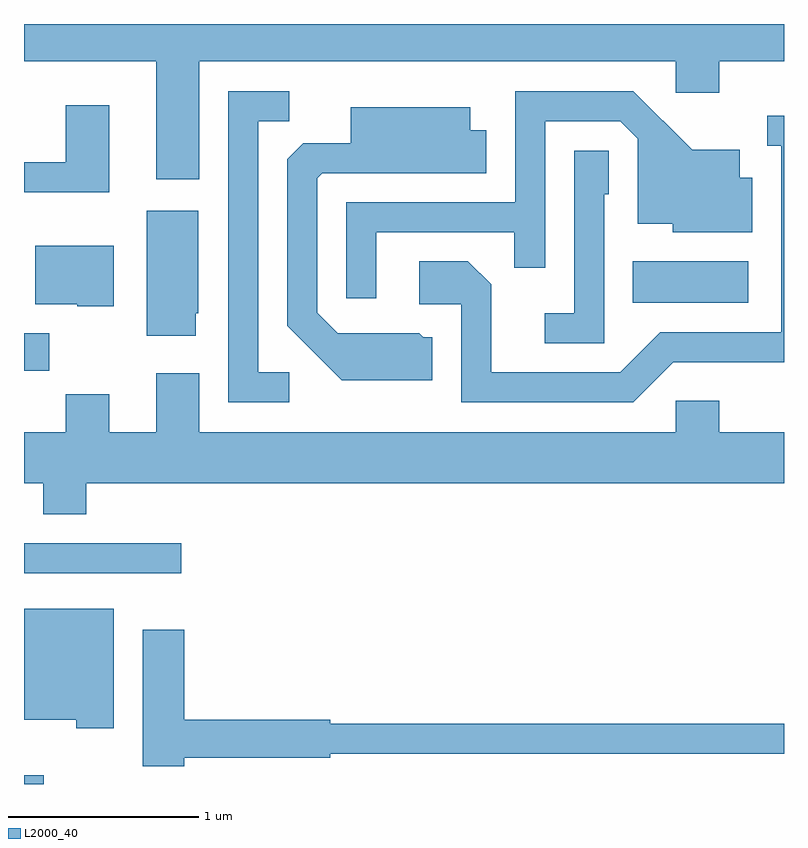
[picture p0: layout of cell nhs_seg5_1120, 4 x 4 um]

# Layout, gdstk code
import gdstk
lib = gdstk.Library(unit=1e-6, precision=1e-09)
def R(c, l, rs):  # rectangles x0, y0, x1, y1
    for r in rs: c.add(gdstk.rectangle(r[:2], r[2:], *l))
def P(c, l, *ps):  # polygons
    for p in ps: c.add(gdstk.Polygon(p, *l))
L2000_40 = (2000, 40)

nhs_seg5_1120 = lib.new_cell('nhs_seg5_1120')
R(nhs_seg5_1120, L2000_40, [(217.611,1484.072,217.714,1484.119), (217.611,1485.181,218.438,1485.339), (217.611,1486.246,217.744,1486.444), (220.816,1486.606,221.424,1486.824)])
P(nhs_seg5_1120, L2000_40, [(218.534,1487.876),(221.041,1487.876),(221.041,1487.711),(221.269,1487.711),(221.269,1487.876),(221.611,1487.876),(221.611,1488.072),(217.611,1488.072),(217.611,1487.876),(218.306,1487.876),(218.306,1487.256),(218.534,1487.256)],
  [(219.464,1486.976),(220.191,1486.976),(220.191,1486.788),(220.354,1486.788),(220.354,1487.561),(220.749,1487.561),(220.841,1487.469),(220.841,1487.021),(221.026,1487.021),(221.026,1486.976),(221.444,1486.976),(221.444,1487.264),(221.379,1487.264),(221.379,1487.409),(221.127,1487.409),(220.817,1487.719),(220.196,1487.719),(220.196,1487.134),(219.306,1487.134),(219.306,1486.628),(219.464,1486.628)],
  [(219.008,1486.239),(218.844,1486.239),(218.844,1487.561),(219.008,1487.561),(219.008,1487.719),(218.686,1487.719),(218.686,1486.081),(219.008,1486.081)],
  [(218.059,1487.644),(217.831,1487.644),(217.831,1487.344),(217.611,1487.344),(217.611,1487.186),(218.059,1487.186)],
  [(219.759,1486.424),(219.712,1486.424),(219.692,1486.444),(219.262,1486.444),(219.154,1486.552),(219.154,1487.259),(219.182,1487.286),(220.044,1487.286),(220.044,1487.514),(219.959,1487.514),(219.959,1487.634),(219.331,1487.634),(219.331,1487.444),(219.082,1487.444),(218.996,1487.359),(218.996,1486.484),(219.284,1486.196),(219.759,1486.196)],
  [(221.027,1486.291),(221.611,1486.291),(221.611,1487.589),(221.523,1487.589),(221.523,1487.431),(221.596,1487.431),(221.596,1486.449),(220.959,1486.449),(220.749,1486.239),(220.069,1486.239),(220.069,1486.702),(219.947,1486.824),(219.691,1486.824),(219.691,1486.596),(219.911,1486.596),(219.911,1486.081),(220.817,1486.081)],
  [(220.664,1487.176),(220.689,1487.176),(220.689,1487.404),(220.506,1487.404),(220.506,1486.549),(220.353,1486.549),(220.353,1486.391),(220.664,1486.391)],
  [(218.514,1486.55),(218.529,1486.55),(218.529,1487.089),(218.256,1487.089),(218.256,1486.431),(218.514,1486.431)],
  [(218.084,1486.904),(217.671,1486.904),(217.671,1486.596),(217.89,1486.596),(217.89,1486.586),(218.084,1486.586)],
  [(217.939,1485.656),(221.611,1485.656),(221.611,1485.924),(221.269,1485.924),(221.269,1486.089),(221.041,1486.089),(221.041,1485.924),(218.534,1485.924),(218.534,1486.234),(218.306,1486.234),(218.306,1485.924),(218.059,1485.924),(218.059,1486.124),(217.831,1486.124),(217.831,1485.924),(217.611,1485.924),(217.611,1485.656),(217.711,1485.656),(217.711,1485.491),(217.939,1485.491)],
  [(218.084,1484.994),(217.611,1484.994),(217.611,1484.411),(217.886,1484.411),(217.886,1484.366),(218.084,1484.366)],
  [(218.454,1484.211),(219.224,1484.211),(219.224,1484.231),(221.611,1484.231),(221.611,1484.389),(219.224,1484.389),(219.224,1484.409),(218.454,1484.409),(218.454,1484.884),(218.236,1484.884),(218.236,1484.166),(218.454,1484.166)])

lib.write_gds('nhs_seg5_1120.gds')
